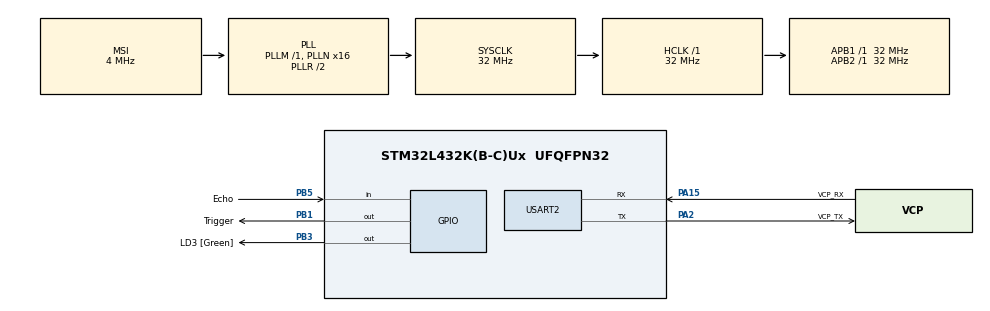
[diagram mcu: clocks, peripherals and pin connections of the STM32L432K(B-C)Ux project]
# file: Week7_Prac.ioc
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Mcu.Family=STM32L4
Mcu.Name=STM32L432K(B-C)Ux
Mcu.Package=UFQFPN32
NVIC.PriorityGroup=NVIC_PRIORITYGROUP_4
NVIC.USART2_IRQn=true\:0\:0\:false\:false\:true\:true\:true\:true
PA0.GPIO_Label=MCO [High speed clock in]
PA0.Mode=HSE-External-Clock-Source-for-LittleOrca
PA0.Signal=RCC_CK_IN
PA13\ (JTMS-SWDIO).GPIO_Label=SWDIO
PA13\ (JTMS-SWDIO).Mode=Serial_Wire
PA13\ (JTMS-SWDIO).Signal=SYS_JTMS-SWDIO
PA14\ (JTCK-SWCLK).GPIO_Label=SWCLK
PA14\ (JTCK-SWCLK).Mode=Serial_Wire
PA14\ (JTCK-SWCLK).Signal=SYS_JTCK-SWCLK
PA15\ (JTDI).GPIO_Label=VCP_RX
PA15\ (JTDI).Mode=Asynchronous
PA15\ (JTDI).Signal=USART2_RX
PA2.GPIO_Label=VCP_TX
PA2.Mode=Asynchronous
PA2.Signal=USART2_TX
PB1.GPIO_Label=Trigger
PB1.Signal=GPIO_Output
PB3\ (JTDO-TRACESWO).GPIO_Label=LD3 [Green]
PB3\ (JTDO-TRACESWO).Signal=GPIO_Output
PB5.GPIO_Label=Echo
PB5.Signal=GPIO_Input
PC14-OSC32_IN\ (PC14).Mode=LSE-External-Oscillator
PC14-OSC32_IN\ (PC14).Signal=RCC_OSC32_IN
PC15-OSC32_OUT\ (PC15).Mode=LSE-External-Oscillator
PC15-OSC32_OUT\ (PC15).Signal=RCC_OSC32_OUT
ProjectManager.HeapSize=0x200
ProjectManager.StackSize=0x400
ProjectManager.TargetToolchain=STM32CubeIDE
RCC.AHBFreq_Value=32000000
RCC.APB1Freq_Value=32000000
RCC.APB1TimFreq_Value=32000000
RCC.APB2Freq_Value=32000000
RCC.APB2TimFreq_Value=32000000
RCC.CortexFreq_Value=32000000
RCC.HCLKFreq_Value=32000000
RCC.HSE_VALUE=8000000
RCC.HSI16_VALUE=16000000
RCC.HSI48_VALUE=48000000
RCC.HSI_VALUE=16000000
RCC.MSI_VALUE=4000000
RCC.PLLMUL=RCC_PLLMUL_4
RCC.PLLN=16
RCC.SYSCLKFreq_VALUE=32000000
RCC.SYSCLKSource=RCC_SYSCLKSOURCE_PLLCLK
RCC.VCOOutputFreq_Value=64000000
TIM16.Prescaler=31
USART2.VirtualMode-Asynchronous=VM_ASYNC
VP_TIM16_VS_ClockSourceINT.Mode=Enable_Timer
board=NUCLEO-L432KC

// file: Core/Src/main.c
/* USER CODE BEGIN Header */
/**
  ******************************************************************************
  * @file           : main.c
  * @brief          : Main program body
  ******************************************************************************
  * @attention
  *
  * Copyright (c) 2025 STMicroelectronics.
  * All rights reserved.
  *
  * This software is licensed under terms that can be found in the LICENSE file
  * in the root directory of this software component.
  * If no LICENSE file comes with this software, it is provided AS-IS.
  *
  ******************************************************************************
  */
/* USER CODE END Header */
#include "main.h"

/* USER CODE BEGIN Includes */
#include <stdio.h>
#include <string.h>
/* USER CODE END Includes */

TIM_HandleTypeDef htim16;

UART_HandleTypeDef huart2;

void SystemClock_Config(void);
static void MX_GPIO_Init(void);
static void MX_USART2_UART_Init(void);
static void MX_TIM16_Init(void);

int main(void)
{

  /* USER CODE BEGIN 1 */
	// HAL_GPIO_WritePin(Trigger_GPIO_Port, Trigger_Pin, 0);

  /* USER CODE END 1 */

  /* MCU Configuration--------------------------------------------------------*/

  /* Reset of all peripherals, Initializes the Flash interface and the Systick. */
  HAL_Init();

  /* Configure the system clock */
  SystemClock_Config();

  /* Initialize all configured peripherals */
  MX_GPIO_Init();
  MX_USART2_UART_Init();
  MX_TIM16_Init();
  /* USER CODE BEGIN 2 */
  HAL_TIM_Base_Start(&htim16);
  char buffer[50];
  /* USER CODE END 2 */

  /* Infinite loop */
  /* USER CODE BEGIN WHILE */
  while (1)
  {
	  HAL_GPIO_WritePin(Trigger_GPIO_Port, Trigger_Pin, 1);
	  __HAL_TIM_SET_COUNTER(&htim16,0);
	  while(__HAL_TIM_GET_COUNTER(&htim16) <= 10){};
	  HAL_GPIO_WritePin(Trigger_GPIO_Port, Trigger_Pin, 0);
	  while (HAL_GPIO_ReadPin(Echo_GPIO_Port, Echo_Pin) == 0){};

	  __HAL_TIM_SET_COUNTER(&htim16,0);
	  while (HAL_GPIO_ReadPin(Echo_GPIO_Port, Echo_Pin) == 1){};

	  uint32_t echoTime = __HAL_TIM_GET_COUNTER(&htim16);

      sprintf(buffer, "here\r\n");
	  HAL_UART_Transmit(&huart2, buffer, strlen(buffer), HAL_MAX_DELAY);

	  int distance = echoTime / 29 / 2;

	  sprintf(buffer, "Distance: %.2d cm\r\n", distance);

	  HAL_UART_Transmit(&huart2, buffer, strlen(buffer), HAL_MAX_DELAY);
	  HAL_Delay(60);

    /* USER CODE END WHILE */

  }
}

void SystemClock_Config(void)
{
  RCC_OscInitTypeDef RCC_OscInitStruct = {0};
  RCC_ClkInitTypeDef RCC_ClkInitStruct = {0};

  /** Configure the main internal regulator output voltage
  */
  if (HAL_PWREx_ControlVoltageScaling(PWR_REGULATOR_VOLTAGE_SCALE1) != HAL_OK)
  {
    Error_Handler();
  }

  /** Configure LSE Drive Capability
  */
  HAL_PWR_EnableBkUpAccess();
  __HAL_RCC_LSEDRIVE_CONFIG(RCC_LSEDRIVE_LOW);

  /** Initializes the RCC Oscillators according to the specified parameters
  * in the RCC_OscInitTypeDef structure.
  */
  RCC_OscInitStruct.OscillatorType = RCC_OSCILLATORTYPE_LSE|RCC_OSCILLATORTYPE_MSI;
  RCC_OscInitStruct.LSEState = RCC_LSE_ON;
  RCC_OscInitStruct.MSIState = RCC_MSI_ON;
  RCC_OscInitStruct.MSICalibrationValue = 0;
  RCC_OscInitStruct.MSIClockRange = RCC_MSIRANGE_6;
  RCC_OscInitStruct.PLL.PLLState = RCC_PLL_ON;
  RCC_OscInitStruct.PLL.PLLSource = RCC_PLLSOURCE_MSI;
  RCC_OscInitStruct.PLL.PLLM = 1;
  RCC_OscInitStruct.PLL.PLLN = 16;
  RCC_OscInitStruct.PLL.PLLP = RCC_PLLP_DIV7;
  RCC_OscInitStruct.PLL.PLLQ = RCC_PLLQ_DIV2;
  RCC_OscInitStruct.PLL.PLLR = RCC_PLLR_DIV2;
  if (HAL_RCC_OscConfig(&RCC_OscInitStruct) != HAL_OK)
  {
    Error_Handler();
  }

  /** Initializes the CPU, AHB and APB buses clocks
  */
  RCC_ClkInitStruct.ClockType = RCC_CLOCKTYPE_HCLK|RCC_CLOCKTYPE_SYSCLK
                              |RCC_CLOCKTYPE_PCLK1|RCC_CLOCKTYPE_PCLK2;
  RCC_ClkInitStruct.SYSCLKSource = RCC_SYSCLKSOURCE_PLLCLK;
  RCC_ClkInitStruct.AHBCLKDivider = RCC_SYSCLK_DIV1;
  RCC_ClkInitStruct.APB1CLKDivider = RCC_HCLK_DIV1;
  RCC_ClkInitStruct.APB2CLKDivider = RCC_HCLK_DIV1;

  if (HAL_RCC_ClockConfig(&RCC_ClkInitStruct, FLASH_LATENCY_1) != HAL_OK)
  {
    Error_Handler();
  }

  /** Enable MSI Auto calibration
  */
  HAL_RCCEx_EnableMSIPLLMode();
}

static void MX_TIM16_Init(void)
{

  htim16.Instance = TIM16;
  htim16.Init.Prescaler = 31;
  htim16.Init.CounterMode = TIM_COUNTERMODE_UP;
  htim16.Init.Period = 65535;
  htim16.Init.ClockDivision = TIM_CLOCKDIVISION_DIV1;
  htim16.Init.RepetitionCounter = 0;
  htim16.Init.AutoReloadPreload = TIM_AUTORELOAD_PRELOAD_DISABLE;
  if (HAL_TIM_Base_Init(&htim16) != HAL_OK)
  {
    Error_Handler();
  }

}

static void MX_USART2_UART_Init(void)
{

  huart2.Instance = USART2;
  huart2.Init.BaudRate = 115200;
  huart2.Init.WordLength = UART_WORDLENGTH_8B;
  huart2.Init.StopBits = UART_STOPBITS_1;
  huart2.Init.Parity = UART_PARITY_NONE;
  huart2.Init.Mode = UART_MODE_TX_RX;
  huart2.Init.HwFlowCtl = UART_HWCONTROL_NONE;
  huart2.Init.OverSampling = UART_OVERSAMPLING_16;
  huart2.Init.OneBitSampling = UART_ONE_BIT_SAMPLE_DISABLE;
  huart2.AdvancedInit.AdvFeatureInit = UART_ADVFEATURE_NO_INIT;
  if (HAL_UART_Init(&huart2) != HAL_OK)
  {
    Error_Handler();
  }

}

static void MX_GPIO_Init(void)
{
  GPIO_InitTypeDef GPIO_InitStruct = {0};

  /* GPIO Ports Clock Enable */
  __HAL_RCC_GPIOC_CLK_ENABLE();
  __HAL_RCC_GPIOA_CLK_ENABLE();
  __HAL_RCC_GPIOB_CLK_ENABLE();

  /*Configure GPIO pin Output Level */
  HAL_GPIO_WritePin(GPIOB, Trigger_Pin|LD3_Pin, GPIO_PIN_RESET);

  /*Configure GPIO pins : Trigger_Pin LD3_Pin */
  GPIO_InitStruct.Pin = Trigger_Pin|LD3_Pin;
  GPIO_InitStruct.Mode = GPIO_MODE_OUTPUT_PP;
  GPIO_InitStruct.Pull = GPIO_NOPULL;
  GPIO_InitStruct.Speed = GPIO_SPEED_FREQ_LOW;
  HAL_GPIO_Init(GPIOB, &GPIO_InitStruct);

  /*Configure GPIO pin : Echo_Pin */
  GPIO_InitStruct.Pin = Echo_Pin;
  GPIO_InitStruct.Mode = GPIO_MODE_INPUT;
  GPIO_InitStruct.Pull = GPIO_NOPULL;
  HAL_GPIO_Init(Echo_GPIO_Port, &GPIO_InitStruct);

}

void Error_Handler(void)
{
  __disable_irq();
  while (1)
  {
  }
}
